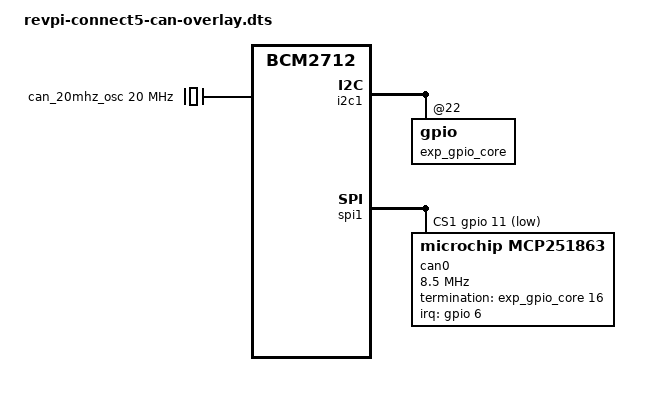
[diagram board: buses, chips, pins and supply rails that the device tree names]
// SPDX-License-Identifier: GPL-2.0
// SPDX-FileCopyrightText: Copyright 2024 KUNBUS GmbH

#include "revpi-connect5-overlay.dts"
#include <dt-bindings/gpio/gpio.h>
#include <dt-bindings/interrupt-controller/irq.h>

/ {
	compatible = "brcm,bcm2712";

	fragment@0 {
		target-path = "/";
		__overlay__ {
			compatible = "kunbus,revpi-connect5-can",
				     "kunbus,revpi-connect5", "brcm,bcm2712";

			can_20mhz_osc: can_20mhz_osc {
				compatible = "fixed-clock";
				#clock-cells = <0>;
				clock-frequency = <20000000>;
			};
		};
	};

	fragment@1 {
		target = <&gpio>;
		__overlay__ {
			gpio-line-names =
				"ID_SDA", // GPIO0
				"ID_SCL", // GPIO1
				"I2C1_SDA", // GPIO2
				"I2C1_SCL", // GPIO3
				"UART2_TX", // GPIO4
				"UART2_RX", // GPIO5
				"INT_CAN0", // GPIO6
				"UART2_RTS", // GPIO7
				"INT_IOEX_CORE", // GPIO8
				"INT_IOX_POWER", // GPIO9
				"INT_TPM", // GPIO10
				"SPI1_CS1", // GPIO11
				"UART4_TX", // GPIO12
				"UART4_RX", // GPIO13
				"-", // GPIO14
				"UART4_RTS", // GPIO15
				"-", // GPIO16
				"ID_WP", // GPIO17
				"SPI1_CS0", // GPIO18
				"SPI1_MISO", // GPIO19
				"SPI1_MOSI", // GPIO20
				"SPI1_CLK", // GPIO21
				"-", // GPIO22
				"-", // GPIO23
				"-", // GPIO24
				"-", // GPIO25
				"-", // GPIO26
				"-", // GPIO27

				"PCIE_PWR_EN", // GPIO28
				"FAN_TACH", // GPIO29
				"HOST_SDA", // GPIO30
				"HOST_SCL", // GPIO31
				"ETH_RST_N", // GPIO32
				"PCIE_DET_WAKE", // GPIO33

				"CD0_IO0_MICCLK", // GPIO34
				"CD0_IO0_MICDAT0", // GPIO35
				"RP1_PCIE_CLKREQ_N", // GPIO36
				"ETH_IRQ_N", // GPIO37
				"SDA0", // GPIO38
				"SCL0", // GPIO39
				"-", // GPIO40
				"-", // GPIO41
				"USB_VBUS_EN", // GPIO42
				"USB_OC_N", // GPIO43
				"RP1_STAT_LED", // GPIO44
				"FAN_PWM", // GPIO45
				"-", // GPIO46
				"2712_WAKE", // GPIO47
				"-", // GPIO48
				"-", // GPIO49
				"-", // GPIO50
				"-", // GPIO51
				"-", // GPIO52
				"-"; // GPIO53

			can0_pins: can0_pins {
				/* IRQ */
				function = "gpio";
				pins = "gpio6";
				bias-disable;
			};
		};
	};

	fragment@2 {
		target = <&i2c1>;
		__overlay__ {
			exp_gpio_core: gpio@22 {
				gpio-line-names =
					"LEDS_PWRRED", // GPIO0 / P0_0
					"LEDS_A1RED", // GPIO1 / P0_1
					"LEDS_A1GRN", // GPIO2 / P0_2
					"LEDS_A1BLUE", // GPIO3 / P0_3
					"LEDS_A2RED", // GPIO4 / P0_4
					"LEDS_A2GRN", // GPIO5 / P0_5
					"LEDS_A2BLUE", // GPIO6 / P0_6
					"PWRBLUE", // GPIO7 / P0_7
					"PB_L_SNIFF", // GPIO8 / P1_0
					"PB_L_ACK", // GPIO9 / P1_1
					"PB_L_MPX_S", // GPIO10 / P1_2
					"PB_TERM", // GPIO11 / P1_3
					"-", // GPIO12 / P1_4
					"-", // GPIO13 / P1_5
					"-", // GPIO14 / P1_6
					"PB_L_DETECT", // GPI15 / P1_7
					"CAN0_TERM", // GPIO16 / P2_0
					"CAN0_STBY", // GPIO17 / P2_1
					"USB_OCI1", // GPIO18 / P2_2
					"USB_OCI2", // GPIO19 / P2_3
					"ETHB_RST", // GPIO20 / P2_4
					"PBETH_L_RST", // GPIO21 / P2_5
					"-", // GPIO22 / P2_6
					"PG_1V05"; // GPIO23 / P2_7
			};
		};
	};

	fragment@4 {
		target = <&spi1>;
		__overlay__ {
			cs-gpios = <&gpio 18 GPIO_ACTIVE_LOW>, <&gpio 11 GPIO_ACTIVE_LOW>;

			can0: can@1 {
				compatible = "microchip,mcp251863";
				pinctrl-names = "default";
				pinctrl-0 = <&can0_pins>;
				reg = <1>;
				clocks = <&can_20mhz_osc>;
				/*
				 * FSCK must be less than or equal to 0.85*(FSYSCLK/2)
				 * 0.85 * (20MHz / 2) = 8.5MHz
				 */
				spi-max-frequency = <8500000>;
				interrupts-extended = <&gpio 6 IRQ_TYPE_LEVEL_LOW>;
				termination-gpios = <&exp_gpio_core 16 GPIO_ACTIVE_HIGH>;
				termination-ohms = <120>;
			};
		};
	};
};
